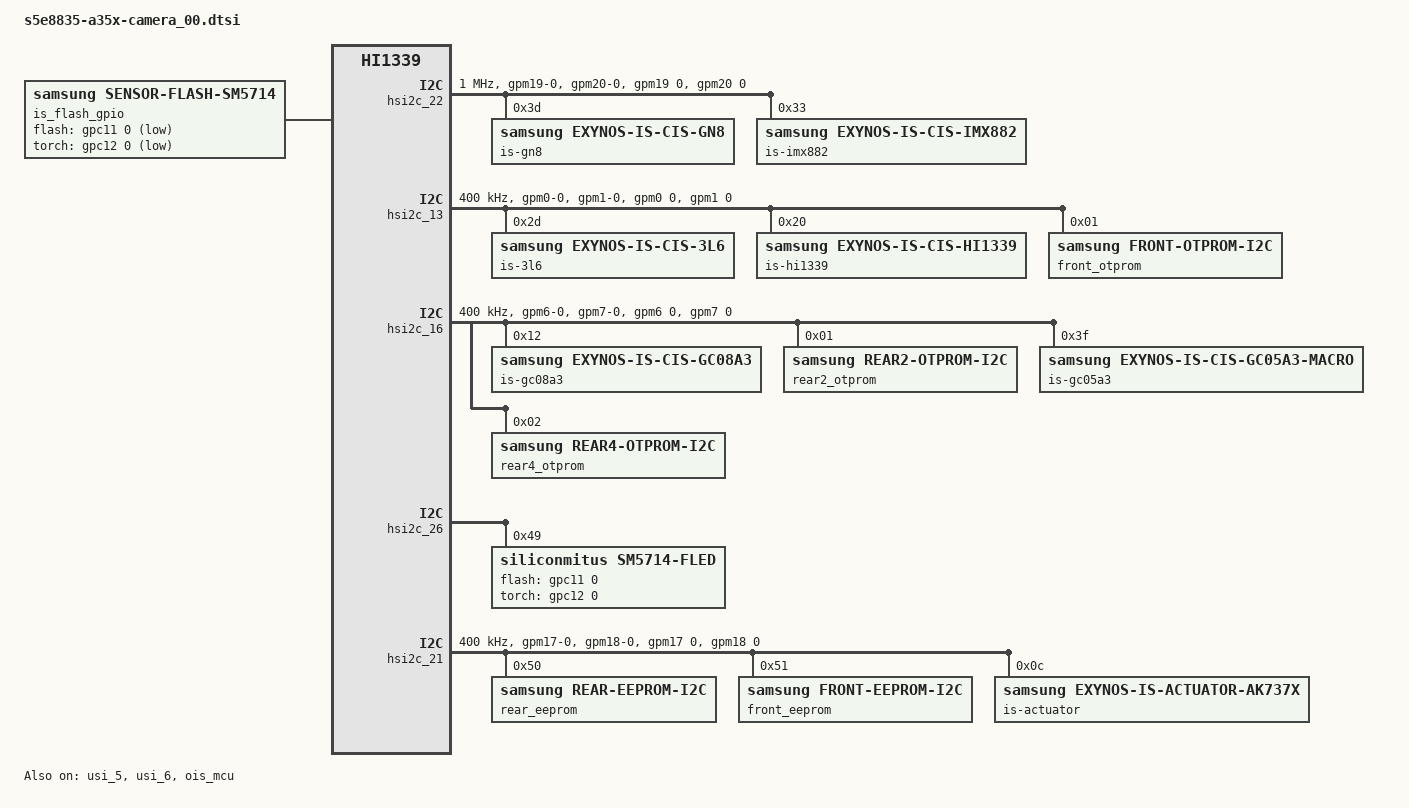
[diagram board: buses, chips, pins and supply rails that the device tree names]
/*
 * Samsung Exynos SoC series Pablo driver
 *
 * Copyright (c) 2023 Samsung Electronics Co., Ltd
 *
 * This program is free software; you can redistribute it and/or modify
 * it under the terms of the GNU General Public License version 2 as
 * published by the Free Software Foundation.
 */

#include <dt-bindings/camera/exynos_is_dt.h>
#include "module_gn8.dtsi"	/* Wide CAMERA */
#include "module_imx882.dtsi"	/* Dualized Wide CAMERA */
#include "module_3l6.dtsi"	/* Front CAMERA */
#include "module_gc08a3.dtsi"	/* UW CAMERA */
#include "module_gc05a3.dtsi"	/* Macro CAMERA */
#include "module_hi1339.dtsi"	/* FRONT CAMERA */

/ {
	fragment@camera {
		target-path = "/";
		__overlay__ {
			#address-cells = <2>;
			#size-cells = <1>;
			interrupt-parent = <&gic>;

			/* Wide CAMERA */
			is_sensor_gn8: is_sensor_gn8@7A {
				preload_setfile;
				pinning_setfile;

				pinctrl-names = "pin0", "pin1", "pin2", "release";
				pinctrl-0 = <>;
				pinctrl-1 = <&sensor_mclk0_out>;
				pinctrl-2 = <&sensor_mclk0_fn>;
				pinctrl-3 = <>;

				/* board */
				position = <0>; /* Rear:0. Front:1, Tele:2 */
				id = <0>; /* is_sensor id */
				mclk_ch = <0>;
				sensor_i2c_ch = <0>; /* SENSOR_CONTROL_I2C0 */

				flash {
					product_name = <20>; /* SM5714 */
				};

				af {
					product_name = <18>; /* ACTUATOR_NAME_AK737X : ak7371 or ak7374 or ak7377*/
					i2c_ch = <3>; /* SENSOR_CONTROL_I2C3 */
				};

				mcu {
					product_name = <2>; /* INTERNAL */
				};

				power_seq {
					scenario_normal_on {
						20 { pname = "VDDIO_1.8V_CAM"; pin = <PIN_REGULATOR 1 0>; share = <SRT_ACQUIRE SHARED_PIN0 1>; };
					};
					scenario_normal_off {
						100 { pname = "VDDIO_1.8V_CAM"; pin = <PIN_REGULATOR 0 500>; share = <SRT_RELEASE SHARED_PIN0 0>; };
					};
					scenario_vision_on {
						20 { pname = "VDDIO_1.8V_CAM"; pin = <PIN_REGULATOR 1 0>; share = <SRT_ACQUIRE SHARED_PIN0 1>; };
					};
					scenario_vision_off {
						100 { pname = "VDDIO_1.8V_CAM"; pin = <PIN_REGULATOR 0 500>; share = <SRT_RELEASE SHARED_PIN0 0>; };
					};
					scenario_ois_factory_on {
						20 { pname = "VDDIO_1.8V_CAM"; pin = <PIN_REGULATOR 1 0>; share = <SRT_ACQUIRE SHARED_PIN0 1>; };
					};
					scenario_ois_factory_off {
						100 { pname = "VDDIO_1.8V_CAM"; pin = <PIN_REGULATOR 0 500>; share = <SRT_RELEASE SHARED_PIN0 0>; };
					};
					scenario_read_rom_on {
						10 { pname = "VDDIO_1.8V_CAM"; pin = <PIN_REGULATOR 1 0>; share = <SRT_ACQUIRE SHARED_PIN0 1>; };
					};
					scenario_read_rom_off {
						20 { pname = "VDDIO_1.8V_CAM"; pin = <PIN_REGULATOR 0 5000>; share = <SRT_RELEASE SHARED_PIN0 0>; };
					};

				};
			};

			is_sensor_imx882: is_sensor_imx882@66 {
				preload_setfile;
				pinning_setfile;

				pinctrl-names = "pin0", "pin1", "pin2", "release";
				pinctrl-0 = <>;
				pinctrl-1 = <&sensor_mclk0_out>;
				pinctrl-2 = <&sensor_mclk0_fn>;
				pinctrl-3 = <>;

				/* board */
				position = <0>; /* Rear:0. Front:1, Tele:2 */
				id = <0>; /* is_sensor id */
				mclk_ch = <0>;
				sensor_i2c_ch = <0>; /* SENSOR_CONTROL_I2C0 */

				flash {
					product_name = <20>; /* SM5714 */
				};

				af {
					product_name = <18>; /* ACTUATOR_NAME_AK737X : ak7371 or ak7374 or ak7377*/
					i2c_ch = <3>; /* SENSOR_CONTROL_I2C3 */
				};

				mcu {
					product_name = <2>; /* INTERNAL */
				};

				power_seq {

					scenario_normal_on {
						40 { pname = "VDDIO_1.8V_CAM"; pin = <PIN_REGULATOR 1 0>; share = <SRT_ACQUIRE SHARED_PIN0 1>; };
					};
					scenario_normal_off {
						60 { pname = "VDDIO_1.8V_CAM"; pin = <PIN_REGULATOR 0 500>; share = <SRT_RELEASE SHARED_PIN0 0>; };
					};
					scenario_vision_on {
						40 { pname = "VDDIO_1.8V_CAM"; pin = <PIN_REGULATOR 1 0>; share = <SRT_ACQUIRE SHARED_PIN0 1>; };
					};
					scenario_vision_off {
						60 { pname = "VDDIO_1.8V_CAM"; pin = <PIN_REGULATOR 0 500>; share = <SRT_RELEASE SHARED_PIN0 0>; };
					};
					scenario_ois_factory_on {
						40 { pname = "VDDIO_1.8V_CAM"; pin = <PIN_REGULATOR 1 0>; share = <SRT_ACQUIRE SHARED_PIN0 1>; };
					};
					scenario_ois_factory_off {
						60 { pname = "VDDIO_1.8V_CAM"; pin = <PIN_REGULATOR 0 500>; share = <SRT_RELEASE SHARED_PIN0 0>; };
					};
					scenario_read_rom_on {
						10 { pname = "VDDIO_1.8V_CAM"; pin = <PIN_REGULATOR 1 0>; share = <SRT_ACQUIRE SHARED_PIN0 1>; };
					};
					scenario_read_rom_off {
						20 { pname = "VDDIO_1.8V_CAM"; pin = <PIN_REGULATOR 0 5000>; share = <SRT_RELEASE SHARED_PIN0 0>; };
					};
				};
			};

			/* FRONT CAMERA */
			is_sensor_3l6: is_sensor_3l6@5A {
				pinctrl-names = "pin0", "pin1", "pin2", "release";
				pinctrl-0 = <>;
				pinctrl-1 = <&sensor_mclk2_out>;
				pinctrl-2 = <&sensor_mclk2_fn>;
				pinctrl-3 = <>;

				/* board */
				position = <1>;	/* Rear:0. Front:1. Rear_sub:2. Secure:3. */
				id = <1>; /* is_sensor id */
				mclk_ch = <2>;
				sensor_i2c_ch = <1>; /* SENSOR_CONTROL_I2C1 */

				power_seq {

					scenario_normal_on {
						20 { pname = "VT_RACM3_RCAM4_LDO_EN"; pin = <PIN_OUTPUT 1 1000>; gpio = <&gpm12 0 0x1>; share = <SRT_ACQUIRE SHARED_PIN1 1>; };
						40 { pname = "VDDIO_1.8V_CAM"; pin = <PIN_REGULATOR 1 0>; share = <SRT_ACQUIRE SHARED_PIN0 1>; };
						80 { pname = "MCLK"; pin = <PIN_MCLK 1 1750>; gpio = <&gpg0 4 0x1>; share = <SRT_ACQUIRE SHARED_PIN2 1>; };
					};
					scenario_normal_off {
						20 { pname = "MCLK"; pin = <PIN_MCLK 0 500>; gpio = <&gpg0 4 0x1>; share = <SRT_RELEASE SHARED_PIN2 0>; };
						70 { pname = "VDDIO_1.8V_CAM"; pin = <PIN_REGULATOR 0 500>; share = <SRT_RELEASE SHARED_PIN0 0>; };
						90 { pname = "VT_RACM3_RCAM4_LDO_EN"; pin = <PIN_OUTPUT 0 1000>; gpio = <&gpm12 0 0x1>; share = <SRT_RELEASE SHARED_PIN1 0>; };
					};
					scenario_vision_on {
						20 { pname = "VT_RACM3_RCAM4_LDO_EN"; pin = <PIN_OUTPUT 1 1000>; gpio = <&gpm12 0 0x1>; share = <SRT_ACQUIRE SHARED_PIN1 1>; };
						40 { pname = "VDDIO_1.8V_CAM"; pin = <PIN_REGULATOR 1 0>; share = <SRT_ACQUIRE SHARED_PIN0 1>; };
						80 { pname = "MCLK"; pin = <PIN_MCLK 1 1750>; gpio = <&gpg0 4 0x1>; share = <SRT_ACQUIRE SHARED_PIN2 1>; };
					};
					scenario_vision_off {
						20 { pname = "MCLK"; pin = <PIN_MCLK 0 500>; gpio = <&gpg0 4 0x1>; share = <SRT_RELEASE SHARED_PIN2 0>; };
						70 { pname = "VDDIO_1.8V_CAM"; pin = <PIN_REGULATOR 0 500>; share = <SRT_RELEASE SHARED_PIN0 0>; };
						90 { pname = "VT_RACM3_RCAM4_LDO_EN"; pin = <PIN_OUTPUT 0 1000>; gpio = <&gpm12 0 0x1>; share = <SRT_RELEASE SHARED_PIN1 0>; };
					};
					scenario_read_rom_on {
						10 { pname = "VDDIO_1.8V_CAM"; pin = <PIN_REGULATOR 1 0>; share = <SRT_ACQUIRE SHARED_PIN0 1>; };
					};
					scenario_read_rom_off {
						20 { pname = "VDDIO_1.8V_CAM"; pin = <PIN_REGULATOR 0 5000>; share = <SRT_RELEASE SHARED_PIN0 0>; };
					};
				};
			};

			/* FRONT CAMERA */
			is_sensor_hi1339: is_sensor_hi1339@40 {
				pinctrl-names = "pin0", "pin1", "pin2", "release";
				pinctrl-0 = <>;
				pinctrl-1 = <&sensor_mclk2_out>;
				pinctrl-2 = <&sensor_mclk2_fn>;
				pinctrl-3 = <>;

				/* board */
				position = <1>;	/* Rear:0. Front:1. Rear_sub:2. Secure:3. */
				id = <1>; /* is_sensor id */
				mclk_ch = <2>;
				sensor_i2c_ch = <1>; /* SENSOR_CONTROL_I2C1 */

				power_seq {
					scenario_normal_on {
						20 { pname = "VT_RACM3_RCAM4_LDO_EN"; pin = <PIN_OUTPUT 1 1000>; gpio = <&gpm12 0 0x1>; share = <SRT_ACQUIRE SHARED_PIN1 1>; };
						40 { pname = "VDDIO_1.8V_CAM"; pin = <PIN_REGULATOR 1 0>; share = <SRT_ACQUIRE SHARED_PIN0 1>; };
						80 { pname = "MCLK"; pin = <PIN_MCLK 1 1750>; gpio = <&gpg0 4 0x1>; share = <SRT_ACQUIRE SHARED_PIN2 1>;};
					};
					scenario_normal_off {
						20 { pname = "MCLK"; pin = <PIN_MCLK 0 500>; gpio = <&gpg0 4 0x1>; share = <SRT_RELEASE SHARED_PIN2 0>; };
						70 { pname = "VDDIO_1.8V_CAM"; pin = <PIN_REGULATOR 0 500>; share = <SRT_RELEASE SHARED_PIN0 0>; };
						90 { pname = "VT_RACM3_RCAM4_LDO_EN"; pin = <PIN_OUTPUT 0 1000>; gpio = <&gpm12 0 0x1>; share = <SRT_RELEASE SHARED_PIN1 0>; };
					};
					scenario_vision_on {
						20 { pname = "VT_RACM3_RCAM4_LDO_EN"; pin = <PIN_OUTPUT 1 1000>; gpio = <&gpm12 0 0x1>; share = <SRT_ACQUIRE SHARED_PIN1 1>; };
						40 { pname = "VDDIO_1.8V_CAM"; pin = <PIN_REGULATOR 1 0>; share = <SRT_ACQUIRE SHARED_PIN0 1>; };
						80 { pname = "MCLK"; pin = <PIN_MCLK 1 1750>; gpio = <&gpg0 4 0x1>; share = <SRT_ACQUIRE SHARED_PIN2 1>;};
					};
					scenario_vision_off {
						20 { pname = "MCLK"; pin = <PIN_MCLK 0 500>; gpio = <&gpg0 4 0x1>; share = <SRT_RELEASE SHARED_PIN2 0>; };
						70 { pname = "VDDIO_1.8V_CAM"; pin = <PIN_REGULATOR 0 500>; share = <SRT_RELEASE SHARED_PIN0 0>; };
						90 { pname = "VT_RACM3_RCAM4_LDO_EN"; pin = <PIN_OUTPUT 0 1000>; gpio = <&gpm12 0 0x1>; share = <SRT_RELEASE SHARED_PIN1 0>; };
					};
					scenario_read_rom_on {
						20 { pname = "VT_RACM3_RCAM4_LDO_EN"; pin = <PIN_OUTPUT 1 1000>; gpio = <&gpm12 0 0x1>; share = <SRT_ACQUIRE SHARED_PIN1 1>; };
						40 { pname = "VDDIO_1.8V_CAM"; pin = <PIN_REGULATOR 1 0>; share = <SRT_ACQUIRE SHARED_PIN0 1>; };
						80 { pname = "MCLK"; pin = <PIN_MCLK 1 1750>; gpio = <&gpg0 4 0x1>; share = <SRT_ACQUIRE SHARED_PIN2 1>;};
					};
					scenario_read_rom_off {
						20 { pname = "MCLK"; pin = <PIN_MCLK 0 500>; gpio = <&gpg0 4 0x1>; share = <SRT_RELEASE SHARED_PIN2 0>; };
						70 { pname = "VDDIO_1.8V_CAM"; pin = <PIN_REGULATOR 0 500>; share = <SRT_RELEASE SHARED_PIN0 0>; };
						90 { pname = "VT_RACM3_RCAM4_LDO_EN"; pin = <PIN_OUTPUT 0 1000>; gpio = <&gpm12 0 0x1>; share = <SRT_RELEASE SHARED_PIN1 0>; };
					};
				};
			};

			/* UW CAMERA */
			is_sensor_gc08a3: is_sensor_gc08a3@62 {
				pinctrl-names = "pin0", "pin1", "pin2", "release";
				pinctrl-0 = <>;
				pinctrl-1 = <&sensor_mclk1_out>;
				pinctrl-2 = <&sensor_mclk1_fn>;
				pinctrl-3 = <>;

				/* board */
				position = <4>;	/* Rear:0. Front:1. Rear_sub:2. Secure:3. */
				id = <4>; /* is_sensor id */
				mclk_ch = <1>;
				sensor_i2c_ch = <2>; /* SENSOR_CONTROL_I2C2 */


				power_seq {
					scenario_normal_on {
						20 { pname = "VDDIO_1.8V_CAM"; pin = <PIN_REGULATOR 1 500>; share = <SRT_ACQUIRE SHARED_PIN0 1>; };
						40 { pname = "VT_RACM3_RCAM4_LDO_EN"; pin = <PIN_OUTPUT 1 1500>; gpio = <&gpm12 0 0x1>; share = <SRT_ACQUIRE SHARED_PIN1 1>;};
					};
					scenario_normal_off {
						70 { pname = "VT_RACM3_RCAM4_LDO_EN"; pin = <PIN_OUTPUT 0 1000>; gpio = <&gpm12 0 0x1>; share = <SRT_RELEASE SHARED_PIN1 0>; };
						90 { pname = "VDDIO_1.8V_CAM"; pin = <PIN_REGULATOR 0 500>; share = <SRT_RELEASE SHARED_PIN0 0>; };
					};
					scenario_vision_on {
						20 { pname = "VDDIO_1.8V_CAM"; pin = <PIN_REGULATOR 1 500>; share = <SRT_ACQUIRE SHARED_PIN0 1>; };
						40 { pname = "VT_RACM3_RCAM4_LDO_EN"; pin = <PIN_OUTPUT 1 1500>; gpio = <&gpm12 0 0x1>; share = <SRT_ACQUIRE SHARED_PIN1 1>;};
					};
					scenario_vision_off {
						70 { pname = "VT_RACM3_RCAM4_LDO_EN"; pin = <PIN_OUTPUT 0 1000>; gpio = <&gpm12 0 0x1>; share = <SRT_RELEASE SHARED_PIN1 0>; };
						90 { pname = "VDDIO_1.8V_CAM"; pin = <PIN_REGULATOR 0 500>; share = <SRT_RELEASE SHARED_PIN0 0>; };
					};
					scenario_read_rom_on {
						20 { pname = "VDDIO_1.8V_CAM"; pin = <PIN_REGULATOR 1 500>; share = <SRT_ACQUIRE SHARED_PIN0 1>; };
						40 { pname = "VT_RACM3_RCAM4_LDO_EN"; pin = <PIN_OUTPUT 1 3000>; gpio = <&gpm12 0 0x1>; share = <SRT_ACQUIRE SHARED_PIN1 1>;};
					};
					scenario_read_rom_off {
						70 { pname = "VT_RACM3_RCAM4_LDO_EN"; pin = <PIN_OUTPUT 0 1000>; gpio = <&gpm12 0 0x1>; share = <SRT_RELEASE SHARED_PIN1 0>; };
						90 { pname = "VDDIO_1.8V_CAM"; pin = <PIN_REGULATOR 0 500>; share = <SRT_RELEASE SHARED_PIN0 0>; };
					};
				};
			};


			/* MACRO CAMERA */
			is_sensor_gc05a3_macro: is_sensor_gc05a3_macro@7E {
				pinctrl-names = "pin0", "pin1", "pin2", "release";
				pinctrl-0 = <>;
				pinctrl-1 = <&sensor_mclk2_out>;
				pinctrl-2 = <&sensor_mclk2_fn>;
				pinctrl-3 = <>;

				/* board */
				position = <6>;	/* Rear:0. Front:1. Rear_sub:2. Secure:3. */
				id = <3>; /* is_sensor id */
				mclk_ch = <2>;
				sensor_i2c_ch = <2>; /* SENSOR_CONTROL_I2C2 */

				flash {
					product_name = <20>; // SM5714
				};

				power_seq {
					scenario_normal_on {
						20 { pname = "VDDIO_1.8V_CAM"; pin = <PIN_REGULATOR 1 100>; share = <SRT_ACQUIRE SHARED_PIN0 1>; };
						40 { pname = "VT_RACM3_RCAM4_LDO_EN"; pin = <PIN_OUTPUT 1 1000>; gpio = <&gpm12 0 0x1>; share = <SRT_ACQUIRE SHARED_PIN1 1>; };
						80 { pname = "MCLK"; pin = <PIN_MCLK 1 1500>; gpio = <&gpg0 4 0x1>; share = <SRT_ACQUIRE SHARED_PIN2 1>;};
					};
					scenario_normal_off {
						20 { pname = "MCLK"; pin = <PIN_MCLK 0 0>; gpio = <&gpg0 4 0x1>; share = <SRT_RELEASE SHARED_PIN2 0>; };
						70 { pname = "VT_RACM3_RCAM4_LDO_EN"; pin = <PIN_OUTPUT 0 1000>; gpio = <&gpm12 0 0x1>; share = <SRT_RELEASE SHARED_PIN1 0>; };
						90 { pname = "VDDIO_1.8V_CAM"; pin = <PIN_REGULATOR 0 0>; share = <SRT_RELEASE SHARED_PIN0 0>; };
					};
					scenario_vision_on {
						20 { pname = "VDDIO_1.8V_CAM"; pin = <PIN_REGULATOR 1 100>; share = <SRT_ACQUIRE SHARED_PIN0 1>; };
						40 { pname = "VT_RACM3_RCAM4_LDO_EN"; pin = <PIN_OUTPUT 1 1000>; gpio = <&gpm12 0 0x1>; share = <SRT_ACQUIRE SHARED_PIN1 1>; };
						80 { pname = "MCLK"; pin = <PIN_MCLK 1 1500>; gpio = <&gpg0 4 0x1>; share = <SRT_ACQUIRE SHARED_PIN2 1>;};
					};
					scenario_vision_off {
						20 { pname = "MCLK"; pin = <PIN_MCLK 0 0>; gpio = <&gpg0 4 0x1>; share = <SRT_RELEASE SHARED_PIN2 0>; };
						70 { pname = "VT_RACM3_RCAM4_LDO_EN"; pin = <PIN_OUTPUT 0 1000>; gpio = <&gpm12 0 0x1>; share = <SRT_RELEASE SHARED_PIN1 0>; };
						90 { pname = "VDDIO_1.8V_CAM"; pin = <PIN_REGULATOR 0 0>; share = <SRT_RELEASE SHARED_PIN0 0>; };
					};
					scenario_read_rom_on {
						20 { pname = "VDDIO_1.8V_CAM"; pin = <PIN_REGULATOR 1 100>; share = <SRT_ACQUIRE SHARED_PIN0 1>; };
						40 { pname = "VT_RACM3_RCAM4_LDO_EN"; pin = <PIN_OUTPUT 1 1000>; gpio = <&gpm12 0 0x1>; share = <SRT_ACQUIRE SHARED_PIN1 1>; };
						80 { pname = "MCLK"; pin = <PIN_MCLK 1 1500>; gpio = <&gpg0 4 0x1>; share = <SRT_ACQUIRE SHARED_PIN2 1>;};
					};
					scenario_read_rom_off {
						20 { pname = "MCLK"; pin = <PIN_MCLK 0 0>; gpio = <&gpg0 4 0x1>; share = <SRT_RELEASE SHARED_PIN2 0>; };
						70 { pname = "VT_RACM3_RCAM4_LDO_EN"; pin = <PIN_OUTPUT 0 1000>; gpio = <&gpm12 0 0x1>; share = <SRT_RELEASE SHARED_PIN1 0>; };
						90 { pname = "VDDIO_1.8V_CAM"; pin = <PIN_REGULATOR 0 0>; share = <SRT_RELEASE SHARED_PIN0 0>; };
					};
				};
			};

			/* dphy_setfile settings taken from A54x */
			dphy_setfile_a35x_1: dphy-setfile_a35x_1@00 {
				comm {
					/* bias */
					0  = <0x1000 0 32 0x00000010 IDX_BIA_VAL 0>; /* M_BIAS_CON0 */
					1  = <0x1004 0 32 0x00000110 IDX_BIA_VAL 0>; /* M_BIAS_CON1 */
					2  = <0x1008 0 32 0x00003223 IDX_BIA_VAL 0>; /* M_BIAS_CON2 */
					3  = <0x1010 0 32 0x00000200 IDX_BIA_VAL 0>; /* M_BIAS_CON4 */
					4  = <0x1114 0 32 0x00000500 IDX_BIA_VAL 0>; /* M_PLL_CON5 */
					5  = <0x1118 0 32 0x00000000 IDX_BIA_VAL 0>; /* M_PLL_CON6 */
					6  = <0x111C 0 32 0x000028A0 IDX_BIA_VAL 0>; /* M_PLL_CON7 */
					7  = <0x1120 0 32 0x00001450 IDX_BIA_VAL 0>; /* M_PLL_CON8 */
					8  = <0x1124 0 32 0x00001208 IDX_BIA_VAL 0>; /* M_PLL_CON9 */

					/* Clock lane */
					9 = <0x0004 0 32 0x000028A0 IDX_FIX_VAL 0>; /* SC_GNR_CON1 */
					10 = <0x0008 0 32 0x00000005 IDX_FIX_VAL 0>; /* SC_ANA_CON0 */
					11 = <0x000C 0 32 0x0000E840 IDX_FIX_VAL 0>; /* SC_ANA_CON1 */
					12 = <0x0010 0 32 0x00000202 IDX_FIX_VAL 0>; /* SC_ANA_CON2 */
					13 = <0x0014 0 32 0x00008600 IDX_FIX_VAL 0>; /* SC_ANA_CON3 */
					14 = <0x0018 0 32 0x00004000 IDX_FIX_VAL 0>; /* SC_ANA_CON4 */
					15 = <0x0030 0 32 0x00000308 IDX_FIX_VAL 0>; /* SC_TIME_CON0 */
					16 = <0x0040 0 32 0x00000000 IDX_FIX_VAL 0>; /* SC_DATA_CON0 */

					/* Enable should be set at last */
					17 = <0x0000 0 32 0x00000001 IDX_FIX_VAL 0>; /* SC_GNR_CON0 */
				};

				lane {
					0  = <0x0004 0 32 0x000028A0 IDX_FIX_VAL 4>; /* SD_GNR_CON1 */
					1  = <0x0008 0 32 0x00000005 IDX_FIX_VAL 4>; /* SD_ANA_CON0 */
					2  = <0x000C 0 32 0x0000E840 IDX_FIX_VAL 4>; /* SD_ANA_CON1 */
					3  = <0x0010 0 32 0x00000202 IDX_FIX_VAL 4>; /* SD_ANA_CON2 */
					4  = <0x0010 8  2 0x00000000 IDX_SKW_DLY 4>; /* SD_ANA_CON2 */
					5  = <0x0014 0 32 0x00008600 IDX_FIX_VAL 4>; /* SD_ANA_CON3 */
					6  = <0x0018 0 32 0x00004000 IDX_FIX_VAL 4>; /* SD_ANA_CON4 */
					7  = <0x0030 0  8 0x00000000 IDX_STL_VAL 4>; /* SD_TIME_CON0 */
					8  = <0x0030 8  1 0x00000000 IDX_STL_CLK 4>; /* SD_TIME_CON0 */
					9  = <0x0034 0 32 0x00000003 IDX_FIX_VAL 4>; /* SD_TIME_CON1 */
					10 = <0x0040 0  1 0x00000001 IDX_SKW_CAL 4>; /* SD_DESKEW_CON0 */
					11 = <0x0050 0 32 0x0000081A IDX_FIX_VAL 4>; /* SD_DESKEW_CON4 */

					/* Enable should be set at last */
					12 = <0x0000 0 32 0x00000001 IDX_FIX_VAL 4>;/* SD_GNR_CON0 */
				};
			};

			dphy_setfile_a35x_2: dphy-setfile_a35x_2@00 {
				comm {
					/* bias */
					0  = <0x1000 0 32 0x00000010 IDX_BIA_VAL 0>; /* M_BIAS_CON0 */
					1  = <0x1004 0 32 0x00000110 IDX_BIA_VAL 0>; /* M_BIAS_CON1 */
					2  = <0x1008 0 32 0x00003223 IDX_BIA_VAL 0>; /* M_BIAS_CON2 */
					3  = <0x1010 0 32 0x00000200 IDX_BIA_VAL 0>; /* M_BIAS_CON4 */
					4  = <0x1114 0 32 0x00000500 IDX_BIA_VAL 0>; /* M_PLL_CON5 */
					5  = <0x1118 0 32 0x00000000 IDX_BIA_VAL 0>; /* M_PLL_CON6 */
					6  = <0x111C 0 32 0x000028A0 IDX_BIA_VAL 0>; /* M_PLL_CON7 */
					7  = <0x1120 0 32 0x00001450 IDX_BIA_VAL 0>; /* M_PLL_CON8 */
					8  = <0x1124 0 32 0x00001208 IDX_BIA_VAL 0>; /* M_PLL_CON9 */

					/* Clock lane */
					9 = <0x0004 0 32 0x000028A0 IDX_FIX_VAL 0>; /* SC_GNR_CON1 */
					10 = <0x0008 0 32 0x00000001 IDX_FIX_VAL 0>; /* SC_ANA_CON0 */
					11 = <0x000C 0 32 0x0000E840 IDX_FIX_VAL 0>; /* SC_ANA_CON1 */
					12 = <0x0010 0 32 0x00000002 IDX_FIX_VAL 0>; /* SC_ANA_CON2 */
					13 = <0x0014 0 32 0x00008600 IDX_FIX_VAL 0>; /* SC_ANA_CON3 */
					14 = <0x0018 0 32 0x00004000 IDX_FIX_VAL 0>; /* SC_ANA_CON4 */
					15 = <0x0030 0 32 0x00000308 IDX_FIX_VAL 0>; /* SC_TIME_CON0 */
					16 = <0x0040 0 32 0x00000000 IDX_FIX_VAL 0>; /* SC_DATA_CON0 */

					/* Enable should be set at last */
					17 = <0x0000 0 32 0x00000001 IDX_FIX_VAL 0>; /* SC_GNR_CON0 */
				};

				lane {
					0  = <0x0004 0 32 0x000028A0 IDX_FIX_VAL 4>; /* SD_GNR_CON1 */
					1  = <0x0008 0 32 0x00000001 IDX_FIX_VAL 4>; /* SD_ANA_CON0 */
					2  = <0x000C 0 32 0x0000E840 IDX_FIX_VAL 4>; /* SD_ANA_CON1 */
					3  = <0x0010 0 32 0x00000002 IDX_FIX_VAL 4>; /* SD_ANA_CON2 */
					4  = <0x0010 8  2 0x00000000 IDX_SKW_DLY 4>; /* SD_ANA_CON2 */
					5  = <0x0014 0 32 0x00008600 IDX_FIX_VAL 4>; /* SD_ANA_CON3 */
					6  = <0x0018 0 32 0x00004000 IDX_FIX_VAL 4>; /* SD_ANA_CON4 */
					7  = <0x0030 0  8 0x00000000 IDX_STL_VAL 4>; /* SD_TIME_CON0 */
					8  = <0x0030 8  1 0x00000000 IDX_STL_CLK 4>; /* SD_TIME_CON0 */
					9  = <0x0034 0 32 0x00000003 IDX_FIX_VAL 4>; /* SD_TIME_CON1 */
					10 = <0x0040 0  1 0x00000001 IDX_SKW_CAL 4>; /* SD_DESKEW_CON0 */
					11 = <0x0050 0 32 0x0000081A IDX_FIX_VAL 4>; /* SD_DESKEW_CON4 */

					/* Enable should be set at last */
					12 = <0x0000 0 32 0x00000001 IDX_FIX_VAL 4>;/* SD_GNR_CON0 */
				};
			};

			/* OIS_MCU */
			ois_mcu: ois_mcu@151F0000 {
				compatible = "samsung,sensor-ois-mcu";
				reg = <0x0 0x151F0000 0x10000>, /* OIS MCU (SRAM 56KB) */
					<0x0 0x13900000 0x10000>, /* I2C: USI05_USI */
					<0x0 0x13910000 0x10000>, /* SPI: USI06_USI */
					<0x0 0x10040000 0x1000>, /* PERI setting */
					<0x0 0x15000000 0x10000>; /* CSIS */
				reg-names = "core", "i2c", "spi", "peri", "csis";
				interrupts = <0 INTREQ__OIS_FROM_CM0P IRQ_TYPE_LEVEL_HIGH>;

				id = <0>;
				status = "okay";
				mcu_ctrl_actuator = <0>;
				mcu_skip_video_fastae;

				power-domains = <&pd_csis>;
				clocks = <&clock GATE_OIS_MCU_TOP_QCH>, <&clock DOUT_DIV_CLK_PERI_USI06_USI>;
				clock-names = "user_mux", "ipclk_spi";
			};

			/* Wide CAMERA */
			is_sensor0: is_sensor0@15030000 {
				#address-cells = <1>;
				#size-cells = <1>;
				scenario = <SENSOR_SCENARIO_NORMAL>;	/* Normal, Vision, OIS etc */
				id = <0>;
				csi_ch = <0>;
				status = "okay";
				use_cphy = <1>;

				interrupts = <0 INTREQ__CSIS0 IRQ_TYPE_LEVEL_HIGH>; /*MIPI-CSI0 */
				interrupt-names = "csi";
				phys = <&mipi_phy_csis0_m0s4s4s4s4_s22 0>;
				phy_setfile = <&dcphy_setfile_cphy>, <&dcphy_setfile_cphy>;
				phy_tune_default_mode = "4080 3060 30";
			};

			/* FRONT CAMERA */
			is_sensor1: is_sensor1@15040000 {
				#address-cells = <1>;
				#size-cells = <1>;
				reg = <0x0 0x15050000 0x1000>, /* MIPI-CSI2 */
						<0x0 0x150F0000 0x10000>; /* PHY: M0S4S4S4S4_S22 */
				scenario = <SENSOR_SCENARIO_NORMAL>;	/* Normal, Vision, OIS etc */
				id = <1>;
				csi_ch = <2>;
				status = "okay";
				use_cphy = <0>;

				interrupts = <0 INTREQ__CSIS2 IRQ_TYPE_LEVEL_HIGH>; /* MIPI-CSI2 */
				interrupt-names = "csi";
				phys = <&mipi_phy_csis2_m0s4s4s4s4_s22 0>;
				phy_setfile = <&dphy_setfile_a35x_1>, <&dphy_setfile_a35x_2>;
				phy_tune_default_mode = "4128 3096 30";
			};

			/* Macro CAMERA */
			is_sensor4: is_sensor4@15070000 {
				#address-cells = <1>;
				#size-cells = <1>;
				reg = <0x0 0x15060000 0x1000>, /* MIPI-CSI3 */
						<0x0 0x150F0000 0x10000>; /* PHY: M0S4S4S4S4S2S1 */
				scenario = <SENSOR_SCENARIO_NORMAL>;	/* Normal, Vision, OIS etc */
				id = <3>;
				csi_ch = <3>;
				status = "okay";
				use_cphy = <0>;


				interrupts = <0 INTREQ__CSIS3 IRQ_TYPE_LEVEL_HIGH>; /* MIPI-CSI3 */
				phys = <&mipi_phy_csis3_m0s4s4s4s4_s22 0>;
				phy_setfile = <&dphy_setfile>;
				phy_tune_default_mode = "2576 1932 30";
			};

			/* UW CAMERA */
			is_sensor2: is_sensor2@15050000 {
				#address-cells = <1>;
				#size-cells = <1>;
				reg = <0x0 0x15040000 0x1000>, /* MIPI-CSI1 */
					<0x0 0x150F0000 0x10000>; /* PHY: M0S4S4S4S4_S22 */
				scenario = <SENSOR_SCENARIO_NORMAL>;	/* Normal, Vision, OIS etc */
				id = <4>;
				csi_ch = <1>;
				status = "okay";

				interrupts = <0 INTREQ__CSIS1 IRQ_TYPE_LEVEL_HIGH>; /* MIPI-CSI1 */
				interrupt-names = "csi";
				phys = <&mipi_phy_csis1_m0s4s4s4s4_s22 0>;
				phy_setfile = <&dphy_setfile>;
				phy_tune_default_mode = "3264 2448 30";
			};

			is_sensor3: is_sensor3@15060000 {
				status = "disabled";
			};

			is_flash_gpio: is-flash-gpio@0 {
				compatible = "samsung,sensor-flash-sm5714";
				sensor-module = <&is_sensor_imx882>,<&is_sensor_gn8>,<&is_sensor_gc05a3_macro>;
				id = <0 3>;
				led_ch = <1>;
				status = "okay";
				flash-gpio = <&gpc11 0 0x1>;
				torch-gpio = <&gpc12 0 0x1>;
			};
		}; /* end of __overlay__ */
	}; /* end of fragment */
}; /* end of root */

/***** reference symbol node *****/
/* Ois setting */
&usi_5 {
	usi_v2_mode = "i2c";
	status = "okay";
};

&usi_6 {
	usi_v2_mode = "spi";
	status = "okay";
};

/*
 * [Pin control reference]
 * samsung,pin-function = <0: Input, 1: Output, 2~3: Func>;
 * samsung,pin-pud = <0: NP, 1: PD, 3: PU(2KOhm), 5: PU(0.8KOhm)>;
 * samsung,pin-drv = <0: x1, 1: x2, 2: x3, 3: x4>;
 * samsung,pin-con-pdn = <0: Output0, 1: Output1, 2: Input, 3:Prev>;
 * samsung,pin-pud-pdn = <0: NP, 1: PD, 3: PU>;
 */

/* GPIO_PERI */
&pinctrl_1 {
	/* FRONT i2c1 */
	hsi2c13_bus: hsi2c13-bus {
			samsung,pins = "gpm0-0", "gpm1-0";
			samsung,pin-function = <2>;
			samsung,pin-pud = <0>;
			samsung,pin-drv = <0>;
	};

	hsi2c13_bus_in: hsi2c13-bus-in {
			samsung,pins = "gpm0-0", "gpm1-0";
			samsung,pin-function = <0>;
			samsung,pin-pud = <0>;
			samsung,pin-drv = <0>;
	};

	/* UW,MACRO : i2c2 */
	hsi2c16_bus: hsi2c16-bus {
			samsung,pins = "gpm6-0", "gpm7-0";
			samsung,pin-function = <3>;
			samsung,pin-pud = <3>;
			samsung,pin-drv = <0>;
	};

	hsi2c16_bus_in: hsi2c16-bus-in {
			samsung,pins = "gpm6-0", "gpm7-0";
			samsung,pin-function = <0>;
			samsung,pin-pud = <3>;
			samsung,pin-drv = <0>;
	};

	/* REAR Wide : i2c0 */
	hsi2c22_bus: hsi2c22-bus {
			samsung,pins = "gpm19-0", "gpm20-0";
			samsung,pin-function = <3>;
			samsung,pin-pud = <5>;
			samsung,pin-drv = <0>;
	};


	hsi2c22_bus_in: hsi2c22-bus-in {
			samsung,pins = "gpm19-0", "gpm20-0";
			samsung,pin-function = <0>;
			samsung,pin-pud = <5>;
			samsung,pin-drv = <0>;
	};

	/* Wide AF,EEP i2c3 */
	hsi2c21_bus: hsi2c21-bus {
			samsung,pins = "gpm17-0", "gpm18-0";
			samsung,pin-function = <2>;
			samsung,pin-pud = <3>;
			samsung,pin-drv = <0>;
	};

	hsi2c21_bus_in: hsi2c21-bus-in {
			samsung,pins = "gpm17-0", "gpm18-0";
			samsung,pin-function = <0>;
			samsung,pin-pud = <3>;
			samsung,pin-drv = <0>;
	};
};

&hsi2c_22 {
	#address-cells = <1>;
	#size-cells = <0>;
	gpios = <&gpm19 0 0 &gpm20 0 0>;
	status = "okay";
	clock-frequency = <1000000>;
	samsung,reset-before-trans;
	samsung,fast-plus-mode;

	pinctrl-names = "default","on_i2c","off_i2c";
	pinctrl-0 = <&hsi2c22_bus_in>;
	pinctrl-1 = <&hsi2c22_bus>;
	pinctrl-2 = <&hsi2c22_bus_in>;

	is-gn8@7A {
		compatible = "samsung,exynos-is-cis-gn8";
		sensor-module = <&is_sensor_gn8>;
		reg = <0x3d>; /* 1 bit right shift */
		id = <0>; /* matching is_sensor id */
		setfile = "setA";
		status = "okay";
		// vendor_use_adaptive_mipi;
		rev_reg = <0x0002 1 0xA1>;
		sensor_f_number = <180>;	/* f number 1.8 */
		vendor_use_adaptive_mipi;
	};

	is-imx882@66 {
		compatible = "samsung,exynos-is-cis-imx882";
		sensor-module = <&is_sensor_imx882>;
		reg = <0x33>; /* 1 bit right shift */
		id = <0>; /* matching is_sensor id */
		setfile = "setA";
		status = "okay";
		// vendor_use_adaptive_mipi;
		rev_reg = <0x0016 2 0x8202>;
		sensor_f_number = <180>;	/* f number 1.8 */
		vendor_use_adaptive_mipi;
	};
};

&hsi2c_13 {
	#address-cells = <1>;
	#size-cells = <0>;
	gpios = <&gpm0 0 0 &gpm1 0 0>;
	status = "okay";
	clock-frequency = <400000>;
	samsung,reset-before-trans;

	pinctrl-names = "default","on_i2c","off_i2c";
	pinctrl-0 = <&hsi2c13_bus_in>;
	pinctrl-1 = <&hsi2c13_bus>;
	pinctrl-2 = <&hsi2c13_bus_in>;

	is-3l6@5A {
		compatible = "samsung,exynos-is-cis-3l6";
		sensor-module = <&is_sensor_3l6>;
		reg = <0x2D>; /* 1 bit right shift */
		id = <1>; /* matching is_sensor id */
		setfile = "setA";
		status = "okay";
		rev_reg = <0x0002 1 0xB0>;
		vendor_use_adaptive_mipi;
		sensor_f_number = <220>;	/* f number 2.2 */
	};

	is-hi1339@40 {
		compatible = "samsung,exynos-is-cis-hi1339";
		sensor-module = <&is_sensor_hi1339>;
		reg = <0x20>; /* 1 bit right shift */
		id = <1>; /* matching is_sensor id */
		setfile = "setA";
		status = "okay";
		sensor_f_number = <220>;	/* f number 2.2 */
		vendor_use_adaptive_mipi;
	};

	front_otprom@40 { /* Front Otprom */
		compatible = "samsung,front-otprom-i2c";
		reg = <0x01>;

		rom_power_position = <1>;
		rom_size = <0x1C85>;
		cal_map_es_version = <1>;
		camera_module_es_version = "A";
		/* skip_cal_loading; */
		/* 20221026_A35 5g_CAM1(Front_??_Hi1339)_OTP_Front_Cal map V008.001_QC_LSI_MTK_??_Map*/
		/* 0 header */
		header_crc_check_list = <0x0000 0x0051 0x0052>;
		/* 0 module */
		crc_check_list = <0x0056 0x0477 0x0478>;
		/* Master */
		rom_header_version_start_addr = <0x000A>;
		rom_header_cal_data_start_addr = <0x0000>;
		rom_header_cal_map_ver_start_addr = <0x0016>;
		rom_header_project_name_start_addr = <0x1E>;
		rom_header_module_id_addr = <0x0036>; /* 0x002C + reserved bytes */
		rom_header_sensor_id_addr = <0x0040>;
		rom_header_mtf_data_addr = <0x47C>; /* Resolution Data */
		rom_awb_master_addr = <0x0064>;

		/* standard cal */
		use_standard_cal;
		rom_standard_cal_start_addr = <0x0064>;
		rom_standard_cal_end_addr = <0x047B>;
		rom_standard_cal_sec2lsi_end_addr = <0x1A63>;
		rom_awb_start_addr = <0x0064>;
		rom_awb_end_addr = <0x006B>;
		rom_shading_start_addr = <0x006E>;
		rom_shading_end_addr = <0x0466>;
		rom_factory_start_addr = <0x047C>;
		rom_factory_end_addr = <0x069B>;
		rom_awb_sec2lsi_start_addr = <0x0064>;
		rom_awb_sec2lsi_end_addr = <0x006B>;
		rom_awb_sec2lsi_checksum_addr = <0x0070>;
		rom_awb_sec2lsi_checksum_len = <0x000C>;
		rom_shading_sec2lsi_start_addr = <0x0074>;
		rom_shading_sec2lsi_end_addr = <0x1A5B>;
		rom_shading_sec2lsi_checksum_addr = <0x1A60>;
		rom_shading_sec2lsi_checksum_len = <0x19EC>;
		rom_factory_sec2lsi_start_addr = <0x1A64>;
	};
};

&hsi2c_16 {
	#address-cells = <1>;
	#size-cells = <0>;
	gpios = <&gpm6 0 0 &gpm7 0 0>;
	status = "okay";
	clock-frequency = <400000>;
	samsung,reset-before-trans;

	pinctrl-names = "default","on_i2c","off_i2c";
	pinctrl-0 = <&hsi2c16_bus_in>;
	pinctrl-1 = <&hsi2c16_bus>;
	pinctrl-2 = <&hsi2c16_bus_in>;

	is-gc08a3@62 {
		compatible = "samsung,exynos-is-cis-gc08a3";
		sensor-module = <&is_sensor_gc08a3>;
		reg = <0x12>; /* 1 bit right shift */
		id = <4>; /* matching is_sensor id */
		setfile = "setA";
		status = "okay";
		rev_reg = <0x03f0 2 0x08A3>;
		sensor_f_number = <220>;	/* f number 2.2 */
		vendor_use_adaptive_mipi;
	};

	rear2_otprom@62 {
		compatible = "samsung,rear2-otprom-i2c";
		reg = <0x01>;

		rom_power_position = <4>;
		rom_size = <0x1D00>;
		cal_map_es_version = <1>;
		camera_module_es_version = "A";
		/* skip_cal_loading; */

		/* 20230714_A35_5G_CAM1(UW_8M_GC08A3)_OTP_Rear_Cal map V008.001_QC_LSI_MTK_공용_Map */
		/* 0 header */
		header_crc_check_list = <0x0000 0x004D 0x004E>;
		/* 0 module */
		crc_check_list = <0x0052 0x045F 0x0460>;
		/* Master */
		rom_header_version_start_addr = <0x0008>;
		rom_header_cal_data_start_addr = <0x0052>;
		rom_header_cal_map_ver_start_addr = <0x0014>;
		rom_header_project_name_start_addr = <0x1C>;
		rom_header_module_id_addr = <0x0032>; /* 0x002C + reserved bytes */
		rom_header_sensor_id_addr = <0x003C>;
		rom_header_mtf_data_addr = <0x464>; /* Resolution Data */
		rom_awb_master_addr = <0x005C>;

		/* standard cal */
		use_standard_cal;
		rom_standard_cal_start_addr = <0x005C>;
		rom_standard_cal_end_addr = <0x045E>;
		rom_standard_cal_sec2lsi_end_addr = <0x1A57>;
		rom_awb_start_addr = <0x005C>;
		rom_awb_end_addr = <0x0063>;
		rom_shading_start_addr = <0x0066>;
		rom_shading_end_addr = <0x045E>;
		rom_factory_start_addr = <0x0464>;
		rom_factory_end_addr = <0x069B>;
		rom_awb_sec2lsi_start_addr = <0x005C>;
		rom_awb_sec2lsi_end_addr = <0x0063>;
		rom_awb_sec2lsi_checksum_addr = <0x0068>;
		rom_awb_sec2lsi_checksum_len = <0x000C>;
		rom_shading_sec2lsi_start_addr = <0x006C>;
		rom_shading_sec2lsi_end_addr = <0x1A53>;
		rom_shading_sec2lsi_checksum_addr = <0x1A58>;
		rom_shading_sec2lsi_checksum_len = <0x19EC>;
		rom_factory_sec2lsi_start_addr = <0x1A5C>;
	};

	is-gc05a3@7E {
		compatible = "samsung,exynos-is-cis-gc05a3-macro";
		sensor-module = <&is_sensor_gc05a3_macro>;
		reg = <0x3F>; /* 1 bit right shift */
		id = <3>; /* matching is_sensor id */
		setfile = "setA";
		status = "okay";
		rev_reg = <0x03f0 2 0x05A3>;
		sensor_f_number = <240>;	/* f number 2.4 */
		vendor_use_adaptive_mipi;
	};

	rear4_otprom@7E { /* Macro otprom */
		compatible = "samsung,rear4-otprom-i2c";
		reg = <0x02>;

		rom_power_position = <6>;
		rom_size = <0x2000>;
		cal_map_es_version = <1>;
		camera_module_es_version = "A";
		/* skip_cal_loading;*/

		/* 20230816_A55_5G_CAM3(Macro_5M_GC05A3)_OTP_Rear_Cal map V008.001_QC_LSI_MTK_공용_Map */
		header_crc_check_list = <0x00 0x4D 0x4E>;
		/* 0 module */
		crc_check_list = <0x0052 0x045F 0x0460>;
		/* Master */
		rom_header_version_start_addr = <0x08>;
		rom_header_cal_data_start_addr = <0x52>;
		rom_header_cal_map_ver_start_addr = <0x14>;
		rom_header_project_name_start_addr = <0x1C>;
		rom_header_module_id_addr = <0x32>; /* 0x2C + reserved bytes */
		rom_header_sensor_id_addr = <0x3C>;
		rom_header_mtf_data_addr = <0x464>; /* Resolution Data */
		rom_awb_master_addr = <0x5C>;

		/* standard cal */
		use_standard_cal;
		rom_standard_cal_start_addr = <0x005C>;
		rom_standard_cal_end_addr = <0x0463>;
		rom_standard_cal_sec2lsi_end_addr = <0x1A5B>;
		rom_awb_start_addr = <0x5C>;
		rom_awb_end_addr = <0x63>;
		rom_shading_start_addr = <0x66>;
		rom_shading_end_addr = <0x45E>;
		rom_factory_start_addr = <0x0464>;
		rom_factory_end_addr = <0x06A7>;
		rom_awb_sec2lsi_start_addr = <0x5C>;
		rom_awb_sec2lsi_end_addr = <0x63>;
		rom_awb_sec2lsi_checksum_addr = <0x68>;
		rom_awb_sec2lsi_checksum_len = <0xC>;
		rom_shading_sec2lsi_start_addr = <0x6C>;
		rom_shading_sec2lsi_end_addr = <0x1A53>;
		rom_shading_sec2lsi_checksum_addr = <0x1A58>;
		rom_shading_sec2lsi_checksum_len = <0x19EC>;
		rom_factory_sec2lsi_start_addr = <0x1A5C>;
	};
};

/* Flash */
&hsi2c_26 {
	sm5714-fled@49 {
		compatible = "siliconmitus,sm5714-fled";
		status = "okay";
		reg = <0x49>;
		flash-gpio = <&gpc11 0 0>;
		torch-gpio = <&gpc12 0 0>;
		flash-brightness = <0xA>; /* 0x0(300mA), 0x1(700mA), 0x2(800mA), 0x3(900mA) ~ 0xF(1500mA) : 50mA Step */
		preflash-brightness = <0x4>;
		torch-brightness = <0x4>; /* 0x0(50mA) ~ 0x7(225mA) : 25mA Step */
		torch-brightness-levels = <0 1 2 5 7>;
		timeout = <0xff>;
	};
};

&hsi2c_21 {
	#address-cells = <1>;
	#size-cells = <0>;
	gpios = <&gpm17 0 0 &gpm18 0 0>;
	status = "okay";
	clock-frequency = <400000>;
	samsung,reset-before-trans;

	pinctrl-names = "default","on_i2c","off_i2c";
	pinctrl-0 = <&hsi2c21_bus_in>;
	pinctrl-1 = <&hsi2c21_bus>;
	pinctrl-2 = <&hsi2c21_bus_in>;

	rear_eeprom@A0 { /* Rear Wide eeprom */
		compatible = "samsung,rear-eeprom-i2c";
		reg = <0x50>;

		rom_power_position = <0>;
		rom_size = <0x5600>;
		cal_map_es_version = <1>;
		camera_module_es_version = "A";
		/* skip_cal_loading; */

		/* 20230905_A35_5G_CAM1(Wide_50M_GN8)_EEPROM_Rear_Cal map V008.001_QC_LSI_MTK_공용_Map */
		/* 0 header */
		header_crc_check_list = <0x0000 0x00FB 0x00FC>;

		crc_check_list = < 
			0x0140 0x019B 0x019C
			0x01A0 0x1D8B 0x1D8C
			0x26A0 0x26EB 0x26EC
			0x26F0 0x301B 0x301C
			0x3AB0 0x3ACB 0x3ACC
			0x3AD0 0x3ECB 0x3ECC
		>;
		/* Master */
		rom_header_version_start_addr = <0x6E>;
		rom_header_cal_data_start_addr = <0x00>;
		rom_header_cal_map_ver_start_addr = <0x90>;
		rom_header_project_name_start_addr = <0x98>;
		rom_header_module_id_addr = <0xB6>;
		rom_header_sensor_id_addr = <0xC0>;
		rom_awb_master_addr = <0x3AB0>;
		rom_af_cal_addr = <0x26AC 0x26A0>; /* AF position <Near Far Middle1 Middle2> */
		rom_header_mtf_data_addr = <0x3ED0>; /* Resolution Data */

		/* Rear Crosstalk Cal data */
		rom_xtc_cal_data_start_addr = <0x01A0>;
		rom_xtc_cal_data_size = <0x1BEC>;
		rom_xtc_cal_data_addr_list = <0x01A0 0x1D8B>;

		/* standard cal */
		use_standard_cal;
		rom_standard_cal_start_addr = <0x3AB0>;
		rom_standard_cal_end_addr = <0x3ECF>;
		rom_standard_cal_sec2lsi_end_addr = <0x54AF>;
		rom_awb_start_addr = <0x3AB0>;
		rom_awb_end_addr = <0x3AB7>;
		rom_shading_start_addr = <0x3AD0>;
		rom_shading_end_addr = <0x3EC8>;
		rom_factory_start_addr = <0x3ED0>;
		rom_factory_end_addr = <0x3FFF>;
		rom_awb_sec2lsi_start_addr = <0x3AB0>;
		rom_awb_sec2lsi_end_addr = <0x3AB7>;
		rom_awb_sec2lsi_checksum_addr = <0x3ABC>;
		rom_awb_sec2lsi_checksum_len = <0xC>;
		rom_shading_sec2lsi_start_addr = <0x3AC0>;
		rom_shading_sec2lsi_end_addr = <0x54A7>;
		rom_shading_sec2lsi_checksum_addr = <0x54AC>;
		rom_shading_sec2lsi_checksum_len = <0x19EC>;
		rom_factory_sec2lsi_start_addr = <0x54B0>;

		/* sensor ois - xgg ygg xcoef ycoef xsupper ysupper calmark */
		rom_ois_list = <0x0150 0x0154 0x015C 0x015E 0x0178 0x017A 0x0170>;
		
		/* Dualized sensor details; */
		/* 20230905_A35_5G_CAM1(Wide_50M_IMX882)_EEPROM_Rear_Cal map V008.001_QC_LSI_MTK_공용_Map */

		/* 0 header */
		header_dualized_crc_check_list = <0x0000 0x00FB 0x00FC>;
		/* 0 cross-talk */
		/* 1 standard cal */
		crc_dualized_check_list = <
			0x0140 0x019B 0x019C
			0x01A0 0x0F2B 0x0F2C
			0x1840 0x188B 0x188C
			0x1890 0x21BB 0x21BC
			0x2C50 0x2C6B 0x2C6C
			0x2C70 0x306B 0x306C
		>;
		/* Master */
		rom_dualized_header_version_start_addr = <0x6E>;
		rom_dualized_header_cal_data_start_addr = <0x00>;
		rom_dualized_header_cal_map_ver_start_addr = <0x90>;
		rom_dualized_header_project_name_start_addr = <0x98>;
		rom_dualized_header_module_id_addr = <0xB6>; /* 0xB0 + reserved bytes */
		rom_dualized_header_sensor_id_addr = <0xC0>;
		rom_dualized_header_mtf_data_addr = <0x3070>; /* Resolution Data */
		rom_dualized_awb_master_addr = <0x2C50>;
		rom_dualized_af_cal_addr = <0x184C 0x1840>; /* AF position <Near Far Middle1 Middle2> */

		/* Front Crosstalk Cal data */
		rom_dualized_xtc_cal_data_start_addr = <0x1A0>;
		rom_dualized_xtc_cal_data_size = <0xD88>;
		rom_dualized_xtc_cal_data_addr_list = <0x01A0 0x0F2B>;

		/* standard cal */
		use_dualized_standard_cal;
		rom_dualized_standard_cal_start_addr = <0x2C50>;
		rom_dualized_standard_cal_end_addr = <0x306F>;
		rom_dualized_standard_cal_sec2lsi_end_addr = <0x464F>;
		rom_dualized_awb_start_addr = <0x2C50>;
		rom_dualized_awb_end_addr = <0x2C57>;
		rom_dualized_shading_start_addr = <0x2C70>;
		rom_dualized_shading_end_addr = <0x3068>;
		rom_dualized_factory_start_addr = <0x3070>;
		rom_dualized_factory_end_addr = <0x32A9>;
		rom_dualized_awb_sec2lsi_start_addr = <0x2C50>;
		rom_dualized_awb_sec2lsi_end_addr = <0x2C57>;
		rom_dualized_awb_sec2lsi_checksum_addr = <0x2C5C>;
		rom_dualized_awb_sec2lsi_checksum_len = <0xC>;
		rom_dualized_shading_sec2lsi_start_addr = <0x2C60>;
		rom_dualized_shading_sec2lsi_end_addr = <0x4647>;
		rom_dualized_shading_sec2lsi_checksum_addr = <0x464C>;
		rom_dualized_shading_sec2lsi_checksum_len = <0x19EC>;
		rom_dualized_factory_sec2lsi_start_addr = <0x4650>;

		/* sensor ois - xgg ygg xcoef ycoef xsupper ysupper calmark */
		rom_dualized_ois_list = <0x0150 0x0154 0x015C 0x015E 0x0178 0x017A 0x0170>;
	};

	front_eeprom@A2 { /* Front eeprom [3L6]*/
		compatible = "samsung,front-eeprom-i2c";
		reg = <0x51>;

		rom_power_position = <1>;
		rom_size = <0x1D00>;
		cal_map_es_version = <1>;
		camera_module_es_version = "A";

		/* 20230714_A35_5G_CAM1(Front_13M_3L6)_EEPROM_Front_Cal map V008.001_QC_LSI_MTK_공용_Map */
		/* 0 header */
		header_crc_check_list = <0x0000 0x0051 0x0052>;

		crc_check_list = < 0x0056 0x0477 0x0478 >;
		/* Master */
		rom_header_version_start_addr = <0x0A>;
		rom_header_cal_data_start_addr = <0x00>;
		rom_header_cal_map_ver_start_addr = <0x16>;
		rom_header_project_name_start_addr = <0x1E>;
		rom_header_module_id_addr = <0x36>;
		rom_header_sensor_id_addr = <0x40>;
		rom_header_mtf_data_addr = <0x47C>; /* Resolution Data */
		rom_awb_master_addr = <0x0064>;

		/* standard cal */
		use_standard_cal;
		rom_standard_cal_start_addr = <0x64>;
		rom_standard_cal_end_addr = <0x0466>;
		rom_standard_cal_sec2lsi_end_addr = <0x1A63>;
		rom_awb_start_addr = <0x64>;
		rom_awb_end_addr = <0x6B>;
		rom_shading_start_addr = <0x6E>;
		rom_shading_end_addr = <0x0466>;
		rom_factory_start_addr = <0x047C>;
		rom_factory_end_addr = <0x069B>;
		rom_awb_sec2lsi_start_addr = <0x64>;
		rom_awb_sec2lsi_end_addr = <0x6B>;
		rom_awb_sec2lsi_checksum_addr = <0x70>;
		rom_awb_sec2lsi_checksum_len = <0xC>;
		rom_shading_sec2lsi_start_addr = <0x74>;
		rom_shading_sec2lsi_end_addr = <0x1A5B>;
		rom_shading_sec2lsi_checksum_addr = <0x1A60>;
		rom_shading_sec2lsi_checksum_len = <0x19EC>;
		rom_factory_sec2lsi_start_addr = <0x1A64>;
	};

	is-actuator@0C {
		compatible = "samsung,exynos-is-actuator-ak737x";
		sensor-module = <&is_sensor_gn8>,<&is_sensor_imx882>;
		reg = <0x0C>;
		id = <0>; /* matching sensor id */
		/* DW9825A: addr 0xF3, data 0x0E */
		vendor_product_id = <0xF3 0x0E 0xF3 0x1E 0xF3 0x19 0xF3 0x13>;
		vendor_first_pos = <960>; /* 12bits */
		vendor_first_delay = <2000>;
		vendor_use_sleep_mode;
		vendor_use_standby_mode; /* with vendor_use_sleep_mode */
		/* delay settings for DW9825A */
		vendor_sleep_to_standby_delay = <2200>;
		vendor_active_to_standby_delay = <300>;
		status = "okay";
	};
};

&exynos_is {
	vender {
		use_module_check;
		use_ois;
		check_sensor_vendor;
		ois_sensor_index = <0>;
		aperture_sensor_index = <0>;
		mcu_sensor_index = <0>;

		is_vendor_sensor_count = <4>;
		max_supported_camera = <4>;
		supported_cameraId = <0 1 58 60>;
		ois_gyro_list = <0x01 0x01 0x11>;

		/*
		* Wide(0)
		* Front(1)
		* U Wide(2)
		* Front 80(3) - not available for factory
		* Front Secure(5) - not available for factory
		* DUAL_REAR_PORTRAIT_WIDE(23)
		* Bokeh(52)
		* Rear_UW(58)
		* Macro(60)
		*/

		/* sysfs camera id */
		max_camera_num = <5>;
		sensor_id { /* sensor position = <sensor_id> */
			0 = <78 133>;	/* S5KGN8 IMX882 */
			1 = <59 225>;	/* S5K3L6 HI1339*/
			4 = <219>;	/* GC08A3 */
			6 = <226>;	/* GC05A3 */
		};

		camera_info0 {			/* 0 : sysfs rear */
			internal_id = <0>;	/* 0 : wide */
			isp = <0>;		/* 0 : INT, 1 : EXT, 2 : SOC */
			cal_memory = <2>;	/* 0 : N, 1 : FROM, 2 : EEPROM, 3 : OTP */
			read_version = <0>;	/* 0 : SYSFS, 1 : CAMON */
			core_voltage = <0>;	/* 0 : N, 1 : Y */
			upgrade = <0>;		/* 0 : N, 1 : SYSFS , 2 : CAMON */
			fw_write = <0>;		/* 0 : N, 1 : OS, 2 : SD, 3 : ALL */
			fw_dump = <0>;		/* 0 : N, 1 : Y */
			companion = <0>;	/* 0 : N, 1 : Y */
			ois = <1>;		/* 0 : N, 1 : Y */
			valid = <1>;		/* 0 : INVALID, 1 : VALID */
		};
		camera_info1 {			/* 1 : sysfs front */
			internal_id = <1>;	/* 1 : front */
			isp = <0>;		/* 0 : INT, 1 : EXT, 2 : SOC */
			cal_memory = <2>;	/* 0 : N, 1 : FROM, 2 : EEPROM, 3 : OTP */
			read_version = <0>;	/* 0 : SYSFS, 1 : CAMON */
			core_voltage = <0>;	/* 0 : N, 1 : Y */
			upgrade = <0>;		/* 0 : N, 1 : SYSFS, 2 : CAMON */
			fw_write = <0>;		/* 0 : N, 1 : OS, 2 : SD, 3 : ALL */
			fw_dump = <0>;		/* 0 : N, 1 : Y */
			companion = <0>;	/* 0 : N, 1 : Y */
			ois = <0>;		/* 0 : N, 1 : Y */
			valid = <1>;		/* 0 : INVALID, 1 : VALID */
		};
		camera_info2 {			/* 2 : sysfs rear2 */
			internal_id = <4>;	/* 2 : ultra wide */
			isp = <0>;		/* 0 : INT, 1 : EXT, 2 : SOC */
			cal_memory = <3>;	/* 0 : N, 1 : FROM, 2 : EEPROM, 3 : OTP */
			read_version = <0>;	/* 0 : SYSFS, 1 : CAMON */
			core_voltage = <0>;	/* 0 : N, 1 : Y */
			upgrade = <0>;		/* 0 : N, 1 : SYSFS, 2 : CAMON */
			fw_write = <0>;		/* 0 : N, 1 : OS, 2 : SD, 3 : ALL */
			fw_dump = <0>;		/* 0 : N, 1 : Y */
			companion = <0>;	/* 0 : N, 1 : Y */
			ois = <0>;		/* 0 : N, 1 : Y */
			valid = <1>;		/* 0 : INVALID, 1 : VALID */
		};
		camera_info4 {			/* 4 : sysfs rear4 */
			internal_id = <6>;	/* 4 : macro */
			isp = <0>;		/* 0 : INT, 1 : EXT, 2 : SOC */
			cal_memory = <3>;	/* 0 : N, 1 : FROM, 2 : EEPROM, 3 : OTP */
			read_version = <0>;	/* 0 : SYSFS, 1 : CAMON */
			core_voltage = <0>;	/* 0 : N, 1 : Y */
			upgrade = <0>;		/* 0 : N, 1 : SYSFS, 2 : CAMON */
			fw_write = <0>;		/* 0 : N, 1 : OS, 2 : SD, 3 : ALL */
			fw_dump = <0>;		/* 0 : N, 1 : Y */
			companion = <0>;	/* 0 : N, 1 : Y */
			ois = <0>;		/* 0 : N, 1 : Y */
			valid = <1>;		/* 0 : INVALID, 1 : VALID */
		};
	};

	is_dvfs {
		#define CPU_CL0	"0-3"
		#define CPU_CL1	"4-7"
		#define CPU_ALL	"0-7"

		table0 {
			desc = "dvfs table v0.2";

			default_csis = <1>;
			default_cam = <1>;
			default_isp = <1>;
			default_m2m = <1>;
			default_mif = <1>;
			default_int = <1>;
			default_cpu = CPU_CL0;

			rear_single_photo_isp = <6>;
			rear_single_photo_mif = <3>;
			rear_single_photo_cpu = CPU_CL0;

			rear_single_photo_full_mif = <3>;
			rear_single_photo_full_cpu = CPU_CL0;

			rear_single_video_hd30_isp = <5>;
			rear_single_video_hd30_mif = <3>;
			rear_single_video_hd30_cpu = CPU_CL0;

			rear_single_video_fhd30_isp = <5>;
			rear_single_video_fhd30_mif = <3>;
			rear_single_video_fhd30_cpu = CPU_CL0;

			rear_single_video_fhd60_isp = <3>;
			rear_single_video_fhd60_mif = <0>;
			rear_single_video_fhd60_cpu = CPU_CL0;

			rear_single_video_uhd30_isp = <5>;
			rear_single_video_uhd30_mif = <1>;
			rear_single_video_uhd30_cpu = CPU_CL0;

			rear_single_capture_cam = <1>;
			rear_single_capture_isp = <1>;
			rear_single_capture_mif = <0>;
			rear_single_capture_cpu = CPU_CL0;

			rear_single_video_fhd120_isp = <0>;
			rear_single_video_fhd120_m2m = <0>;
			rear_single_video_fhd120_mif = <0>;
			rear_single_video_fhd120_cpu = CPU_CL0;

			rear_single_video_hd240_isp = <6>;
			rear_single_video_hd240_m2m = <4>;
			rear_single_video_hd240_mif = <0>;
			rear_single_video_hd240_cpu = CPU_CL0;

			rear_single_ssm_isp = <6>;
			rear_single_ssm_m2m = <4>;
			rear_single_ssm_mif = <0>;
			rear_single_ssm_hpg = <6>;
			rear_single_ssm_cpu = CPU_CL0;

			rear_single_vt_isp = <5>;
			rear_single_vt_mif = <3>;
			rear_single_vt_cpu = CPU_CL0;

			rear_single_video_fhd30_supersteady_isp = <0>;
			rear_single_video_fhd30_supersteady_mif = <0>;
			rear_single_video_fhd30_supersteady_cpu = CPU_CL0;

			rear_single_remosaic_photo_isp = <6>;
			rear_single_remosaic_photo_mif = <3>;
			rear_single_remosaic_photo_cpu = CPU_CL0;

			rear_single_remosaic_capture_cam = <1>;
			rear_single_remosaic_capture_isp = <1>;
			rear_single_remosaic_capture_m2m = <4>;
			rear_single_remosaic_capture_mif = <0>;
			rear_single_remosaic_capture_cpu = CPU_CL0;

			rear_dual_wide_tele_photo_isp = <0>;
			rear_dual_wide_tele_photo_mif = <0>;
			rear_dual_wide_tele_photo_cpu = CPU_CL0;

			rear_dual_wide_tele_video_fhd30_isp = <0>;
			rear_dual_wide_tele_video_fhd30_mif = <0>;
			rear_dual_wide_tele_video_fhd30_cpu = CPU_CL0;

			rear_dual_wide_tele_video_uhd30_isp = <0>;
			rear_dual_wide_tele_video_uhd30_mif = <0>;
			rear_dual_wide_tele_video_uhd30_cpu = CPU_CL0;

			rear_dual_wide_tele_video_fhd60_isp = <0>;
			rear_dual_wide_tele_video_fhd60_mif = <0>;
			rear_dual_wide_tele_video_fhd60_cpu = CPU_CL0;

			rear_dual_wide_tele_capture_cam = <0>;
			rear_dual_wide_tele_capture_isp = <0>;
			rear_dual_wide_tele_capture_m2m = <0>;
			rear_dual_wide_tele_capture_mif = <0>;
			rear_dual_wide_tele_capture_cpu = CPU_CL0;

			rear_dual_wide_ultrawide_photo_isp = <3>;
			rear_dual_wide_ultrawide_photo_mif = <0>;
			rear_dual_wide_ultrawide_photo_cpu = CPU_CL0;

			rear_dual_wide_ultrawide_video_fhd30_isp = <0>;
			rear_dual_wide_ultrawide_video_fhd30_mif = <0>;
			rear_dual_wide_ultrawide_video_fhd30_cpu = CPU_CL0;

			rear_dual_wide_ultrawide_video_uhd30_isp = <0>;
			rear_dual_wide_ultrawide_video_uhd30_mif = <0>;
			rear_dual_wide_ultrawide_video_uhd30_cpu = CPU_CL0;

			rear_dual_wide_ultrawide_video_fhd60_isp = <0>;
			rear_dual_wide_ultrawide_video_fhd60_mif = <0>;
			rear_dual_wide_ultrawide_video_fhd60_cpu = CPU_CL0;

			rear_dual_wide_ultrawide_capture_cam = <1>;
			rear_dual_wide_ultrawide_capture_isp = <1>;
			rear_dual_wide_ultrawide_capture_m2m = <4>;
			rear_dual_wide_ultrawide_capture_mif = <0>;
			rear_dual_wide_ultrawide_capture_cpu = CPU_CL0;

			front_single_photo_isp = <6>;
			front_single_photo_mif = <3>;
			front_single_photo_cpu = CPU_CL0;

			front_single_photo_full_mif = <3>;
			front_single_photo_full_cpu = CPU_CL0;

			front_single_video_hd30_isp = <6>;
			front_single_video_hd30_mif = <3>;
			front_single_video_hd30_cpu = CPU_CL0;

			front_single_video_fhd30_isp = <6>;
			front_single_video_fhd30_mif = <3>;
			front_single_video_fhd30_cpu = CPU_CL0;

			front_single_video_uhd30_isp = <6>;
			front_single_video_uhd30_mif = <1>;
			front_single_video_uhd30_cpu = CPU_CL0;

			front_single_video_fhd60_isp = <5>;
			front_single_video_fhd60_mif = <0>;
			front_single_video_fhd60_cpu = CPU_CL0;

			front_single_capture_csis = <5>;
			front_single_capture_cam = <1>;
			front_single_capture_isp = <1>;
			front_single_capture_m2m = <4>;
			front_single_capture_mif = <0>;
			front_single_capture_cpu = CPU_CL0;

			front_single_vt_isp = <5>;
			front_single_vt_mif = <3>;
			front_single_vt_cpu = CPU_CL0;

			front_single_video_hd120_isp = <2>;
			front_single_video_hd120_m2m = <4>;
			front_single_video_hd120_mif = <0>;
			front_single_video_hd120_hpg = <0>;
			front_single_video_hd120_cpu = CPU_CL0;

			front_single_remosaic_photo_isp = <6>;
			front_single_remosaic_photo_mif = <3>;
			front_single_remosaic_photo_cpu = CPU_CL0;

			front_single_remosaic_capture_cam = <1>;
			front_single_remosaic_capture_isp = <1>;
			front_single_remosaic_capture_m2m = <4>;
			front_single_remosaic_capture_mif = <0>;
			front_single_remosaic_capture_cpu = CPU_CL0;

			rear_single_wide_fastae_cam = <5>;
			rear_single_wide_fastae_isp = <5>;
			rear_single_wide_fastae_m2m = <4>;
			rear_single_wide_fastae_mif = <1>;
			rear_single_wide_fastae_cpu = CPU_CL0;

			front_single_fastae_cam = <5>;
			front_single_fastae_csis = <5>;
			front_single_fastae_isp = <5>;
			front_single_fastae_m2m = <4>;
			front_single_fastae_mif = <1>;
			front_single_fastae_cpu = CPU_CL0;

			pip_dual_photo_isp = <0>;
			pip_dual_photo_mif = <0>;
			pip_dual_photo_cpu = CPU_CL0;

			pip_dual_capture_cam = <0>;
			pip_dual_capture_isp = <0>;
			pip_dual_capture_m2m = <0>;
			pip_dual_capture_mif = <0>;
			pip_dual_capture_cpu = CPU_CL0;

			pip_dual_video_fhd30_isp = <0>;
			pip_dual_video_fhd30_mif = <0>;
			pip_dual_video_fhd30_cpu = CPU_CL0;

			sensor_only_rear_single_cam = <1>;
			sensor_only_rear_single_csis = <1>;
			sensor_only_rear_single_isp = <1>;
			sensor_only_rear_single_m2m = <1>;
			sensor_only_rear_single_mif = <1>;
			sensor_only_rear_single_int = <1>;
			sensor_only_rear_single_cpu = CPU_CL0;

			sensor_only_front_cam = <1>;
			sensor_only_front_csis = <1>;
			sensor_only_front_isp = <1>;
			sensor_only_front_m2m = <1>;
			sensor_only_front_mif = <1>;
			sensor_only_front_int = <1>;
			sensor_only_front_cpu = CPU_CL0;

			throttling_cam = <0>;
			throttling_csis = <0>;
			throttling_isp = <0>;
			throttling_m2m = <0>;
			throttling_mif = <0>;
			throttling_int = <0>;
			throttling_hpg = <0>;
			throttling_cpu = CPU_CL0;

			max_cam = <1>;
			max_csis = <1>;
			max_isp = <1>;
			max_m2m = <1>;
			max_mif = <1>;
			max_int = <1>;
			max_cpu = CPU_CL0;
		};
	};
};
